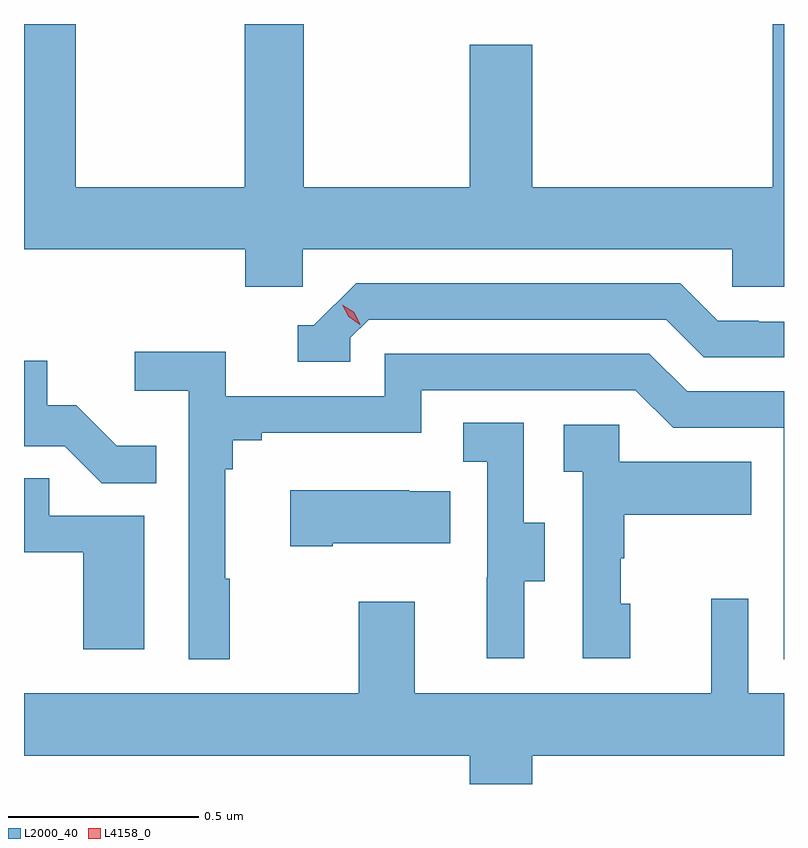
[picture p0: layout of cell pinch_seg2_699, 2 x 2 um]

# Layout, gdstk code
import gdstk
lib = gdstk.Library(unit=1e-6, precision=1e-09)
def P(c, l, *ps):  # polygons
    for p in ps: c.add(gdstk.Polygon(p, *l))
L2000_40 = (2000, 40)
L4158_0 = (4158, 0)

pinch_seg2_699 = lib.new_cell('pinch_seg2_699')
P(pinch_seg2_699, L2000_40, [(1123.457,602.25),(1123.608,602.25),(1123.608,602.348),(1124.739,602.348),(1124.739,602.25),(1124.875,602.25),(1124.875,602.941),(1124.846,602.941),(1124.846,602.512),(1124.212,602.512),(1124.212,602.887),(1124.048,602.887),(1124.048,602.512),(1123.611,602.512),(1123.611,602.941),(1123.456,602.941),(1123.456,602.512),(1123.011,602.512),(1123.011,602.941),(1122.875,602.941),(1122.875,602.348),(1123.457,602.348)],
  [(1123.734,602.115),(1123.782,602.163),(1124.565,602.163),(1124.664,602.064),(1124.875,602.064),(1124.875,602.157),(1124.808,602.157),(1124.808,602.16),(1124.701,602.16),(1124.602,602.259),(1123.749,602.259),(1123.638,602.148),(1123.595,602.148),(1123.595,602.052),(1123.734,602.052)],
  [(1123.417,601.481),(1123.405,601.481),(1123.405,601.769),(1123.424,601.769),(1123.424,601.846),(1123.501,601.846),(1123.501,601.865),(1123.92,601.865),(1123.92,601.977),(1124.484,601.977),(1124.583,601.878),(1124.874,601.878),(1124.874,601.269),(1124.875,601.269),(1124.875,601.974),(1124.62,601.974),(1124.521,602.073),(1123.824,602.073),(1123.824,601.962),(1123.406,601.962),(1123.406,602.078),(1123.167,602.078),(1123.167,601.976),(1123.308,601.976),(1123.308,601.269),(1123.417,601.269)],
  [(1123.223,601.831),(1123.119,601.831),(1123.012,601.938),(1122.936,601.938),(1122.936,602.055),(1122.875,602.055),(1122.875,601.83),(1122.982,601.83),(1123.08,601.732),(1123.223,601.732)],
  [(1124.191,601.474),(1124.245,601.474),(1124.245,601.629),(1124.19,601.629),(1124.19,601.892),(1124.031,601.892),(1124.031,601.789),(1124.094,601.789),(1124.094,601.485),(1124.093,601.485),(1124.093,601.272),(1124.191,601.272)],
  [(1124.47,601.416),(1124.445,601.416),(1124.445,601.535),(1124.455,601.535),(1124.455,601.649),(1124.789,601.649),(1124.789,601.789),(1124.442,601.789),(1124.442,601.887),(1124.295,601.887),(1124.295,601.763),(1124.346,601.763),(1124.346,601.272),(1124.47,601.272)],
  [(1123.192,601.647),(1122.941,601.647),(1122.941,601.745),(1122.875,601.745),(1122.875,601.551),(1123.031,601.551),(1123.031,601.296),(1123.192,601.296)],
  [(1123.687,601.574),(1123.997,601.574),(1123.997,601.711),(1123.889,601.711),(1123.889,601.714),(1123.575,601.714),(1123.575,601.567),(1123.687,601.567)],
  [(1124.212,601.016),(1124.875,601.016),(1124.875,601.18),(1124.781,601.18),(1124.781,601.429),(1124.684,601.429),(1124.684,601.18),(1123.903,601.18),(1123.903,601.42),(1123.756,601.42),(1123.756,601.18),(1122.875,601.18),(1122.875,601.016),(1124.048,601.016),(1124.048,600.941),(1124.212,600.941)])
P(pinch_seg2_699, L4158_0, [(1123.759,602.15),(1123.729,602.17),(1123.712,602.202),(1123.712,602.202),(1123.713,602.202),(1123.744,602.183),(1123.76,602.151),(1123.76,602.15)])

lib.write_gds('pinch_seg2_699.gds')
